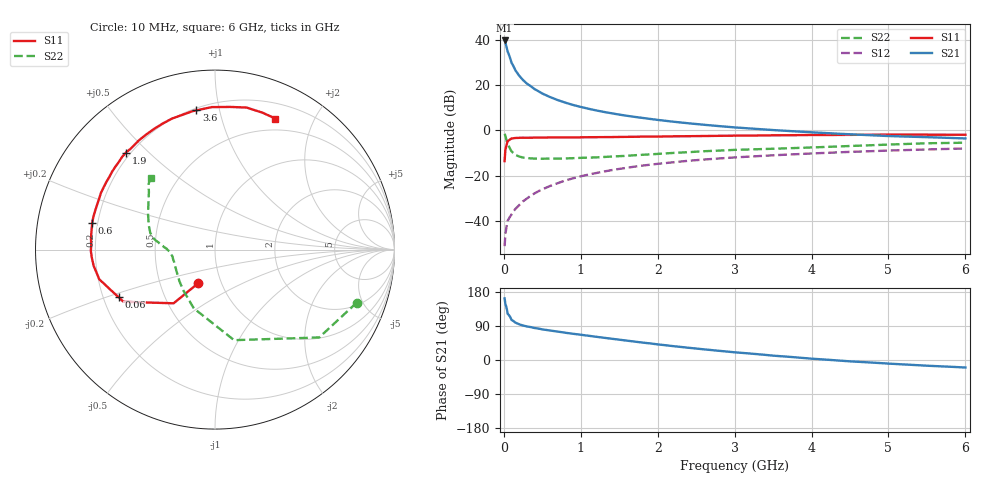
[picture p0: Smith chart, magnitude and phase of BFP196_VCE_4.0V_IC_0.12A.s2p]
! (c) 2017  Infineon Technologies AG, Munich
! Infineon Technologies  Discrete & RF Semiconductors
! BFP196
! VCE =  4.0 V,  IC = 0.12 A
! Common Emitter S-Parameters:  Jan 2017
# GHz  S  MA  R  50
!  f  S11  S21  S12  S22
! GHz  MAG  ANG  MAG  ANG  MAG  ANG  MAG  ANG
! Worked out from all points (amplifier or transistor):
!   77 points, 10 MHz to 6 GHz, reference 50 ohm
!   highest |S21| = 39.7 dB at 10 MHz (marker M1)
!   |S21| within 3 dB of that: start of sweep to 35.72 MHz
!   unconditionally stable (mu >= 1): 292.5 MHz to 2.478 GHz
!   at 130 MHz: K = 0.81, MSG = 31.8 dB, |S12| = -35.5 dB
!   at 2.2 GHz: K = 1.01, MAG = 8.3 dB, |S12| = -14.0 dB
!   at 6 GHz: K = 0.97, MSG = 2.2 dB, |S12| = -7.9 dB
!   S11 on the Smith chart (normalised r, x): 10 MHz: 0.78, -0.30; 60 MHz: 0.26, -0.22; 600 MHz: 0.18, +0.11; 1.9 GHz: 0.18, +0.43; 3.6 GHz: 0.21, +0.85; 6 GHz: 0.36, +1.50
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0.01  0.2103 -116.7  96.69 162.7  0.0028 75.7  0.8433 -20.5
0.02  0.3775 -127.6  87.17 148.0  0.0051 74.6  0.7595 -40.1
0.05  0.5869 -150.3  54.86 121.8  0.0102 54.1  0.5157 -78.1
0.06  0.599 -153.7  49.9 119.8  0.0109 55.7  0.4732 -82.5
0.1  0.6658 -165.6  31.11 105.6  0.014 60.3  0.348 -109.8
0.15  0.6821 -172.4  21.27 98.7  0.0186 64.3  0.2889 -127.3
0.2  0.6877 -176.2  16.09 94.2  0.0226 68.0  0.2656 -138.2
0.25  0.6918 -179.4  12.92 90.9  0.0274 68.0  0.2521 -145.5
0.3  0.6899 178.3  10.79 88.6  0.0315 69.7  0.2454 -151.3
0.4  0.6943 174.4  8.148 84.4  0.041 71.7  0.2395 -158.5
0.5  0.6966 170.6  6.525 80.9  0.0502 71.9  0.2379 -163.3
0.6  0.7004 167.6  5.459 77.8  0.0595 70.8  0.2395 -167.0
0.8  0.7019 161.9  4.105 71.9  0.0789 70.2  0.2415 -171.7
1.1  0.7096 153.6  3.013 64.0  0.1063 66.5  0.2516 -176.6
1.5  0.7189 143.0  2.236 53.7  0.1417 61.1  0.2709 178.7
1.9  0.7337 132.5  1.797 43.8  0.1755 55.2  0.2967 175.3
2.1  0.7367 127.3  1.634 39.0  0.1908 52.2  0.3113 173.6
3.1  0.7694 106.3  1.137 18.7  0.2596 38.0  0.377 164.1
3.6  0.7827 97.6  0.997 10.0  0.2884 31.6  0.3998 157.8
4.1  0.7941 89.8  0.892 2.2  0.3158 25.4  0.4276 150.6
5.1  0.8092 76.2  0.744 -10.6  0.3639 13.5  0.4945 138.2
6  0.8039 65.3  0.667 -19.8  0.4009 3.4  0.5368 131.6
